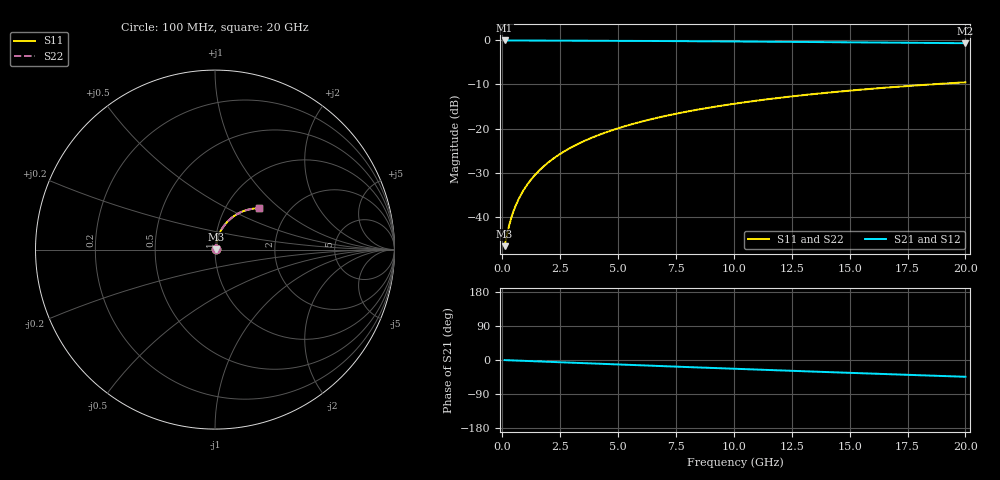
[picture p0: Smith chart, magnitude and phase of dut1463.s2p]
! Touchstone file exported from HFSS 2026.1.0
!  File:  C:/ffzhzh/LocalFiles/Ansys_Project_Files/temp_train_BSMRDL_1463_1783180951_22436.aedt
!  Generated:  12:03:37 AM Jul  5, 2026
!  Design:  BSMRDL
!  Project:  temp_train_BSMRDL_1463_1783180951_22436
! Variables:
!  h_bsmrdl = 3.77um
!  h_ox = 20um
!  h_rdl = 5um
!  h_sub = 80um
!  h_tmrdl = 5um
!  h_tsv = 80um
!  h_via = 3um
!  l_bsmrdl = 705.83um
!  l_sub = 1105.83um
!  l_tmrdl = 200um
!  m_sub = 200um
!  pitch = 32.95um
!  r_tsv = 6um
!  s_tmrdl = 10um
!  w_bsmrdl = 16.93um
!  w_sub = 500um
!  w_tmrdl = 12um
!  x_tsv_center1 = 206um
!  x_tsv_center2 = 928.76um
!  x_tsv_center3 = 1140.76um
!  x_tsv_center4 = 1863.52um
!  x_tsv_center5 = 2075.52um
!  x_tsv_center6 = 2798.28um
# GHz S MA R 50.000000
! Terminal data exported
! Port[1] = BSM_RDL1_1_T1
! Port[2] = BSM_RDL1_1_T2
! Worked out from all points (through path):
!   200 points, 100 MHz to 20 GHz, reference 50 ohm
!   highest |S21| = -0.04 dB at 100 MHz (marker M1); lowest = -0.7 dB at 20 GHz (marker M2)
!   group delay of S21, straight-line fit = 6.14 ps
!   lowest |S11| = -46.6 dB at 100 MHz (marker M3), VSWR 1.01, Z = 50.4 + j0.235 ohm
!   |S11| at or under -10 dB: start of sweep to 18.47 GHz
!   |S22| runs from -46.6 to -9.5 dB; largest |S21 - S12| = 2.1e-15
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0.1  0.004681 29.9  0.9959 -0.3  0.9959 -0.3  0.004681 29.9
! Gamma 0 0 0 0
! Port Impedance 50 0 50 0
0.2  0.006258 47.2  0.9958 -0.5  0.9958 -0.5  0.006258 47.2
0.3  0.00811 56.3  0.9956 -0.7  0.9956 -0.7  0.008111 56.3
0.4  0.01002 61.7  0.9954 -1.0  0.9954 -1.0  0.01003 61.7
0.5  0.01195 65.3  0.9952 -1.2  0.9952 -1.2  0.01195 65.3
0.6  0.01388 68.0  0.9951 -1.5  0.9951 -1.5  0.01389 68.0
0.8  0.01778 71.5  0.9948 -1.9  0.9948 -1.9  0.01778 71.5
1  0.02172 73.7  0.9946 -2.4  0.9946 -2.4  0.02172 73.7
1.2  0.02569 75.2  0.9944 -2.9  0.9944 -2.9  0.0257 75.2
1.4  0.02969 76.2  0.9942 -3.4  0.9942 -3.4  0.02969 76.1
1.7  0.03571 77.0  0.9939 -4.1  0.9939 -4.1  0.03571 77.0
2.2  0.04577 77.5  0.9932 -5.2  0.9932 -5.2  0.04577 77.4
2.8  0.0578 77.2  0.9922 -6.7  0.9922 -6.7  0.0578 77.2
3.5  0.07173 76.4  0.9908 -8.3  0.9908 -8.3  0.07173 76.4
4.2  0.08549 75.3  0.9892 -9.9  0.9892 -9.9  0.08549 75.2
5  0.101 73.8  0.9871 -11.8  0.9871 -11.8  0.101 73.8
6.8  0.1348 70.2  0.9816 -15.9  0.9816 -15.9  0.1348 70.1
8.3  0.1618 67.0  0.9764 -19.3  0.9764 -19.3  0.1618 67.0
10.1  0.1928 63.3  0.9696 -23.3  0.9696 -23.3  0.1928 63.2
13.4  0.2457 56.5  0.9561 -30.5  0.9561 -30.5  0.2457 56.4
16.7  0.2931 49.8  0.9417 -37.5  0.9417 -37.5  0.2932 49.7
20  0.3348 43.3  0.9271 -44.3  0.9271 -44.3  0.3349 43.2
